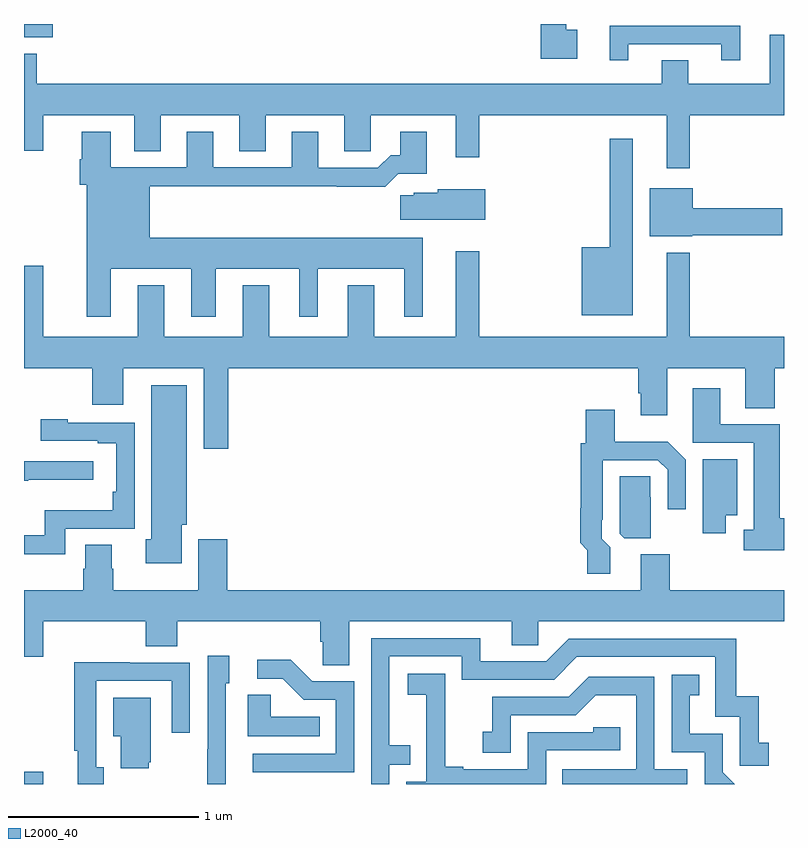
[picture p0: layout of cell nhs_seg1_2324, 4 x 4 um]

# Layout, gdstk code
import gdstk
lib = gdstk.Library(unit=1e-6, precision=1e-09)
def R(c, l, rs):  # rectangles x0, y0, x1, y1
    for r in rs: c.add(gdstk.rectangle(r[:2], r[2:], *l))
def P(c, l, *ps):  # polygons
    for p in ps: c.add(gdstk.Polygon(p, *l))
L2000_40 = (2000, 40)

nhs_seg1_2324 = lib.new_cell('nhs_seg1_2324')
R(nhs_seg1_2324, L2000_40, [(237,560.199,237.1,560.263), (237,564.128,237.151,564.199)])
P(nhs_seg1_2324, L2000_40, [(239.911,564.17),(239.854,564.17),(239.854,564.199),(239.72,564.199),(239.72,564.017),(239.911,564.017)],
  [(240.181,564.093),(240.671,564.093),(240.671,564.009),(240.769,564.009),(240.769,564.189),(240.083,564.189),(240.083,564.009),(240.181,564.009)],
  [(240.505,563.72),(241,563.72),(241,564.142),(240.926,564.142),(240.926,563.884),(240.496,563.884),(240.496,564.008),(240.356,564.008),(240.356,563.884),(237.068,563.884),(237.068,564.043),(237,564.043),(237,563.532),(237.1,563.532),(237.1,563.72),(237.581,563.72),(237.581,563.53),(237.721,563.53),(237.721,563.72),(238.133,563.72),(238.133,563.53),(238.273,563.53),(238.273,563.72),(238.685,563.72),(238.685,563.53),(238.824,563.53),(238.824,563.72),(239.273,563.72),(239.273,563.499),(239.395,563.499),(239.395,563.72),(240.383,563.72),(240.383,563.439),(240.505,563.439)],
  [(237.457,562.91),(237.881,562.91),(237.881,562.659),(238.009,562.659),(238.009,562.91),(238.448,562.91),(238.448,562.659),(238.546,562.659),(238.546,562.91),(239,562.91),(239,562.659),(239.098,562.659),(239.098,563.074),(237.661,563.074),(237.661,563.344),(238.645,563.344),(238.645,563.342),(238.901,563.342),(238.971,563.412),(239.119,563.412),(239.119,563.632),(238.979,563.632),(238.979,563.509),(238.93,563.509),(238.863,563.442),(238.549,563.442),(238.549,563.632),(238.409,563.632),(238.409,563.445),(237.997,563.445),(237.997,563.632),(237.857,563.632),(237.857,563.445),(237.457,563.445),(237.457,563.632),(237.305,563.632),(237.305,563.486),(237.293,563.486),(237.293,563.352),(237.329,563.352),(237.329,562.659),(237.457,562.659)],
  [(240.205,563.596),(240.084,563.596),(240.084,563.023),(239.936,563.023),(239.936,562.667),(240.205,562.667)],
  [(240.516,563.087),(240.991,563.087),(240.991,563.229),(240.52,563.229),(240.52,563.335),(240.293,563.335),(240.293,563.081),(240.516,563.081)],
  [(239.428,563.329),(239.178,563.329),(239.178,563.311),(239.052,563.311),(239.052,563.297),(238.98,563.297),(238.98,563.168),(239.428,563.168)],
  [(238.076,562.388),(240.233,562.388),(240.233,562.255),(240.245,562.255),(240.245,562.14),(240.385,562.14),(240.385,562.388),(240.797,562.388),(240.797,562.177),(240.95,562.177),(240.95,562.388),(241,562.388),(241,562.552),(240.505,562.552),(240.505,562.996),(240.383,562.996),(240.383,562.552),(239.395,562.552),(239.395,563.002),(239.273,563.002),(239.273,562.552),(238.843,562.552),(238.843,562.825),(238.703,562.825),(238.703,562.552),(238.291,562.552),(238.291,562.825),(238.151,562.825),(238.151,562.552),(237.739,562.552),(237.739,562.825),(237.599,562.825),(237.599,562.552),(237.1,562.552),(237.1,562.927),(237,562.927),(237,562.388),(237.359,562.388),(237.359,562.194),(237.523,562.194),(237.523,562.388),(237.947,562.388),(237.947,561.963),(238.076,561.963)],
  [(237.829,561.564),(237.856,561.564),(237.856,562.297),(237.671,562.297),(237.671,561.488),(237.641,561.488),(237.641,561.362),(237.829,561.362)],
  [(241,561.599),(240.977,561.599),(240.977,562.092),(240.664,562.092),(240.664,562.282),(240.521,562.282),(240.521,561.996),(240.842,561.996),(240.842,561.538),(240.789,561.538),(240.789,561.429),(241,561.429)],
  [(240.085,561.446),(240.042,561.489),(240.042,561.589),(240.045,561.589),(240.045,561.903),(240.336,561.903),(240.387,561.852),(240.387,561.645),(240.483,561.645),(240.483,561.906),(240.389,562),(240.109,562),(240.109,562.168),(239.957,562.168),(239.957,561.993),(239.929,561.993),(239.929,561.65),(239.927,561.65),(239.927,561.468),(239.965,561.429),(239.965,561.306),(240.085,561.306)],
  [(237.216,561.543),(237.582,561.543),(237.582,562.101),(237.231,562.101),(237.231,562.12),(237.087,562.12),(237.087,562.005),(237.389,562.005),(237.389,561.993),(237.486,561.993),(237.486,561.736),(237.466,561.736),(237.466,561.64),(237.108,561.64),(237.108,561.509),(237,561.509),(237,561.407),(237.216,561.407)],
  [(240.694,561.614),(240.754,561.614),(240.754,561.907),(240.572,561.907),(240.572,561.519),(240.694,561.519)],
  [(237.023,561.8),(237.364,561.8),(237.364,561.897),(237,561.897),(237,561.796),(237.023,561.796)],
  [(240.298,561.707),(240.297,561.707),(240.297,561.818),(240.135,561.818),(240.135,561.516),(240.159,561.493),(240.298,561.493)],
  [(238.711,561.056),(239.567,561.056),(239.567,560.929),(239.706,560.929),(239.706,561.056),(241,561.056),(241,561.22),(240.398,561.22),(240.398,561.408),(240.245,561.408),(240.245,561.22),(238.07,561.22),(238.07,561.487),(237.917,561.487),(237.917,561.22),(237.471,561.22),(237.471,561.333),(237.463,561.333),(237.463,561.458),(237.323,561.458),(237.323,561.333),(237.311,561.333),(237.311,561.22),(237,561.22),(237,560.868),(237.1,560.868),(237.1,561.056),(237.641,561.056),(237.641,560.923),(237.806,560.923),(237.806,561.056),(238.559,561.056),(238.559,560.947),(238.572,560.947),(238.572,560.824),(238.711,560.824)],
  [(238.923,560.301),(239.033,560.301),(239.033,560.402),(238.923,560.402),(238.923,560.871),(239.304,560.871),(239.304,560.748),(239.79,560.748),(239.91,560.868),(240.639,560.868),(240.639,560.553),(240.768,560.553),(240.768,560.295),(240.919,560.295),(240.919,560.415),(240.866,560.415),(240.866,560.662),(240.748,560.662),(240.748,560.964),(239.868,560.964),(239.748,560.844),(239.401,560.844),(239.401,560.967),(238.827,560.967),(238.827,560.199),(238.923,560.199)],
  [(238.062,560.73),(238.081,560.73),(238.081,560.875),(237.966,560.875),(237.966,560.381),(237.964,560.381),(237.964,560.199),(238.062,560.199)],
  [(238.737,560.739),(238.518,560.739),(238.405,560.852),(238.227,560.852),(238.227,560.754),(238.361,560.754),(238.472,560.643),(238.641,560.643),(238.641,560.358),(238.203,560.358),(238.203,560.262),(238.737,560.262)],
  [(237.421,560.286),(237.381,560.286),(237.381,560.742),(237.777,560.742),(237.777,560.469),(237.873,560.469),(237.873,560.838),(237.557,560.838),(237.557,560.84),(237.265,560.84),(237.265,560.374),(237.284,560.374),(237.284,560.199),(237.421,560.199)],
  [(239.748,560.376),(240.137,560.376),(240.137,560.499),(239.997,560.499),(239.997,560.472),(239.652,560.472),(239.652,560.277),(239.311,560.277),(239.311,560.29),(239.216,560.29),(239.216,560.573),(239.217,560.573),(239.217,560.779),(239.019,560.779),(239.019,560.669),(239.117,560.669),(239.117,560.441),(239.118,560.441),(239.118,560.211),(239.013,560.211),(239.013,560.199),(239.748,560.199)],
  [(240.678,560.262),(240.678,560.463),(240.505,560.463),(240.505,560.667),(240.554,560.667),(240.554,560.773),(240.408,560.773),(240.408,560.367),(240.582,560.367),(240.582,560.199),(240.741,560.199)],
  [(240.492,560.277),(240.318,560.277),(240.318,560.763),(239.972,560.763),(239.867,560.658),(239.464,560.658),(239.464,560.473),(239.415,560.473),(239.415,560.364),(239.562,560.364),(239.562,560.562),(239.904,560.562),(240.008,560.666),(240.222,560.666),(240.222,560.277),(239.833,560.277),(239.833,560.199),(240.492,560.199)],
  [(238.556,560.554),(238.299,560.554),(238.299,560.669),(238.178,560.669),(238.178,560.45),(238.556,560.45)],
  [(237.656,560.313),(237.667,560.313),(237.667,560.653),(237.47,560.653),(237.47,560.45),(237.509,560.45),(237.509,560.282),(237.656,560.282)])

lib.write_gds('nhs_seg1_2324.gds')
